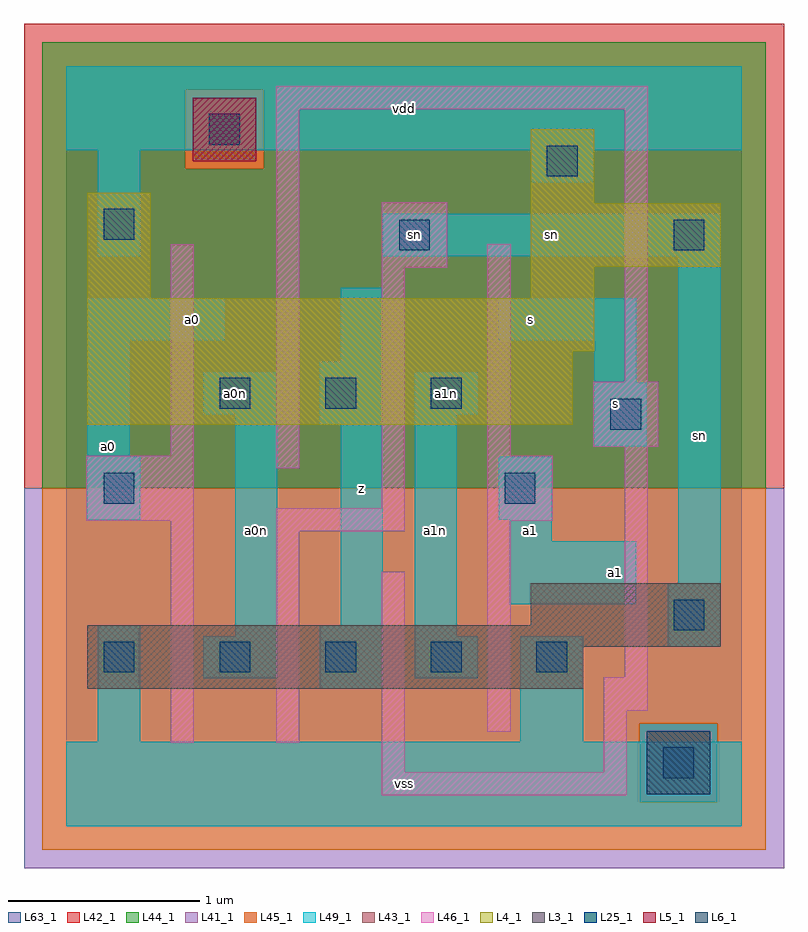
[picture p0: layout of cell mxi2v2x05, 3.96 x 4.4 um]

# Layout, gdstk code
import gdstk
lib = gdstk.Library(unit=1e-6, precision=1e-09)
def R(c, l, rs):  # rectangles x0, y0, x1, y1
    for r in rs: c.add(gdstk.rectangle(r[:2], r[2:], *l))
def A(c, l, x, y, w, h, nx, ny, dx, dy):  # array of equal rectangles
    R(c, l, [(x+i*dx, y+j*dy, x+i*dx+w, y+j*dy+h) for i in range(nx) for j in range(ny)])
L3_1 = (3, 1)
L4_1 = (4, 1)
L5_1 = (5, 1)
L6_1 = (6, 1)
L25_1 = (25, 1)
L41_1 = (41, 1)
L42_1 = (42, 1)
L43_1 = (43, 1)
L44_1 = (44, 1)
L45_1 = (45, 1)
L46_1 = (46, 1)
L49_1 = (49, 1)
L63_1 = (63, 1)

mxi2v2x05 = lib.new_cell('mxi2v2x05')
R(mxi2v2x05, L3_1, [(0.11,0.715,2.695,0.935), (0.11,0.935,3.41,1.045), (2.42,1.045,3.41,1.265)])
R(mxi2v2x05, L4_1, [(0.11,2.09,2.64,2.475), (0.11,2.475,2.75,2.75), (0.11,2.75,0.44,3.3), (2.42,2.75,2.75,2.915), (2.42,2.915,3.41,3.245), (2.42,3.245,2.75,3.63)])
R(mxi2v2x05, L5_1, [(0.66,3.465,0.99,3.795)])
R(mxi2v2x05, L6_1, [(3.025,0.165,3.355,0.495)])
A(mxi2v2x05, L25_1, 0.8, 0.8, 0.16, 0.16, 4, 1, 0.55, 0)
A(mxi2v2x05, L25_1, 0.8, 2.175, 0.16, 0.16, 3, 1, 0.55, 0)
R(mxi2v2x05, L25_1, [(3.11,0.25,3.27,0.41), (0.195,0.8,0.355,0.96), (3.165,1.02,3.325,1.18), (0.195,1.68,0.355,1.84), (2.285,1.68,2.445,1.84), (2.835,2.065,2.995,2.225), (1.735,3,1.895,3.16), (3.165,3,3.325,3.16), (0.195,3.055,0.355,3.215), (2.505,3.385,2.665,3.545), (0.745,3.55,0.905,3.71)])
R(mxi2v2x05, L41_1, [(-0.22,-0.22,3.74,1.76)])
R(mxi2v2x05, L42_1, [(-0.22,1.76,3.74,4.18)])
R(mxi2v2x05, L43_1, [(3.025,0.165,3.355,0.495), (0.11,0.715,2.695,0.935), (0.11,0.935,3.41,1.045), (2.42,1.045,3.41,1.265), (0.11,2.09,2.64,2.475), (0.11,2.475,2.75,2.75), (0.11,2.75,0.44,3.3), (2.42,2.75,2.75,2.915), (2.42,2.915,3.41,3.245), (2.42,3.245,2.75,3.63), (0.66,3.465,0.99,3.795)])
R(mxi2v2x05, L44_1, [(2.985,0.125,3.395,0.535), (-0.125,1.76,3.645,3.425), (-0.125,3.425,0.62,3.835), (1.03,3.425,3.645,3.835), (-0.125,3.835,3.645,4.085)])
R(mxi2v2x05, L45_1, [(-0.125,-0.125,3.645,0.125), (-0.125,0.125,2.985,0.535), (3.395,0.125,3.645,0.535), (-0.125,0.535,3.645,1.76), (0.62,3.425,1.03,3.835)])
R(mxi2v2x05, L46_1, [(1.645,0.16,2.92,0.28), (1.645,0.28,1.765,1.325), (2.8,0.28,2.92,0.6), (0.545,0.435,0.665,1.59), (1.095,0.435,1.215,1.535), (2.195,0.49,2.315,1.59), (2.8,0.6,3.03,0.775), (2.91,0.775,3.03,1.975), (1.095,1.535,1.765,1.655), (0.105,1.59,0.665,1.93), (2.195,1.59,2.535,1.93), (1.645,1.655,1.765,2.91), (1.095,1.865,1.215,3.735), (0.545,1.93,0.665,3.03), (2.195,1.93,2.315,3.03), (2.745,1.975,3.085,2.315), (2.91,2.315,3.03,3.735), (1.645,2.91,1.985,3.25), (1.095,3.735,3.03,3.855)])
R(mxi2v2x05, L49_1, [(0,0,3.52,0.44), (0.165,0.44,0.385,1.045), (2.365,0.44,2.695,0.99), (1.32,0.715,1.65,1.045), (0.715,0.77,1.1,0.99), (1.815,0.77,2.145,0.99), (3.135,0.935,3.41,1.265), (0.88,0.99,1.1,2.145), (1.815,0.99,2.035,2.145), (1.43,1.045,1.65,2.09), (2.31,1.155,2.97,1.485), (3.19,1.265,3.41,2.97), (2.31,1.485,2.53,1.595), (0.11,1.595,0.385,1.925), (2.255,1.595,2.53,1.925), (0.11,1.925,0.33,2.53), (2.75,1.98,3.025,2.31), (1.32,2.09,1.65,2.42), (0.715,2.145,1.1,2.365), (1.815,2.145,2.145,2.365), (2.75,2.31,2.97,2.53), (1.43,2.42,1.65,2.805), (0.11,2.53,0.825,2.75), (2.255,2.53,2.97,2.75), (0.165,2.97,0.385,3.52), (1.65,2.97,3.41,3.19), (2.42,3.355,2.75,3.52), (0,3.52,3.52,3.96)])
R(mxi2v2x05, L63_1, [(0,0,3.52,3.96)])
mxi2v2x05.add(gdstk.Label('sn', (1.815,3.08), layer=49, texttype=1))
mxi2v2x05.add(gdstk.Label('a0', (0.22,1.98), layer=49, texttype=1))
mxi2v2x05.add(gdstk.Label('a0', (0.66,2.64), layer=49, texttype=1))
mxi2v2x05.add(gdstk.Label('z', (1.54,1.76), layer=49, texttype=1))
mxi2v2x05.add(gdstk.Label('a0n', (0.99,1.54), layer=49, texttype=1))
mxi2v2x05.add(gdstk.Label('a0n', (0.88,2.255), layer=49, texttype=1))
mxi2v2x05.add(gdstk.Label('vss', (1.76,0.22), layer=49, texttype=1))
mxi2v2x05.add(gdstk.Label('a1', (2.42,1.54), layer=49, texttype=1))
mxi2v2x05.add(gdstk.Label('a1n', (1.925,1.54), layer=49, texttype=1))
mxi2v2x05.add(gdstk.Label('a1n', (1.98,2.255), layer=49, texttype=1))
mxi2v2x05.add(gdstk.Label('s', (2.42,2.64), layer=49, texttype=1))
mxi2v2x05.add(gdstk.Label('vdd', (1.76,3.74), layer=49, texttype=1))
mxi2v2x05.add(gdstk.Label('a1', (2.86,1.32), layer=49, texttype=1))
mxi2v2x05.add(gdstk.Label('s', (2.86,2.2), layer=49, texttype=1))
mxi2v2x05.add(gdstk.Label('sn', (2.53,3.08), layer=49, texttype=1))
mxi2v2x05.add(gdstk.Label('sn', (3.3,2.035), layer=49, texttype=1))

lib.write_gds('mxi2v2x05.gds')
